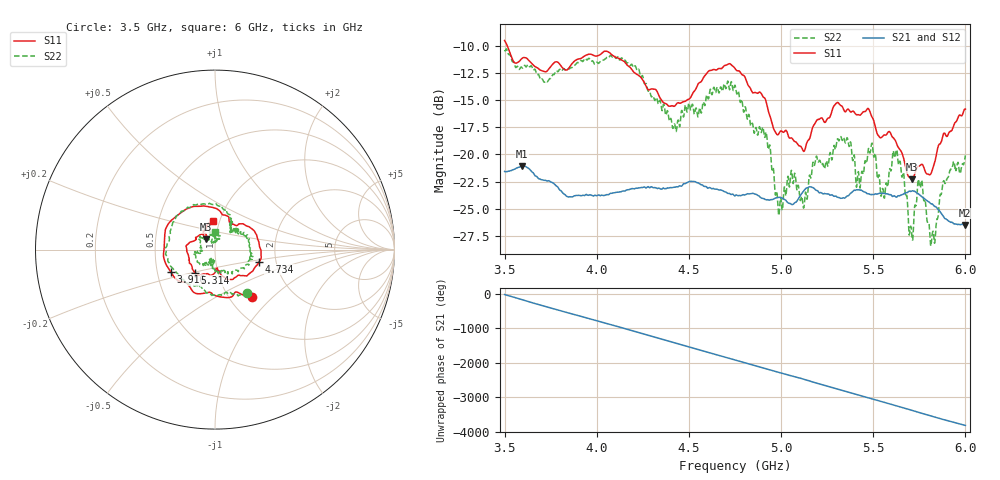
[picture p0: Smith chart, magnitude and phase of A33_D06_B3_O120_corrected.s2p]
! Created with skrf 1.9.0 (http://scikit-rf.org).
# Hz S RI R 50.0
!freq ReS11 ImS11 ReS21 ImS21 ReS12 ImS12 ReS22 ImS22
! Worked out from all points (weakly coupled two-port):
!   1601 points, 3.5 GHz to 6 GHz, reference 50 ohm
!   highest |S21| = -21.06 dB at 3.592 GHz (marker M1); lowest = -26.5 dB at 5.995 GHz (marker M2)
!   lowest |S11| = -22.3 dB at 5.709 GHz (marker M3), VSWR 1.17, Z = 44.9 + j5.21 ohm
!   |S11| at or under -10 dB: 3.514 GHz to end of sweep
!   |S22| runs from -28.4 to -10.3 dB; largest |S21 - S12| = 0.00096
!   S11 on the Smith chart (normalised r, x): 3.5 GHz: 1.28, -0.75; 3.916 GHz: 0.59, -0.16; 4.734 GHz: 1.64, -0.24; 5.314 GHz: 0.77, -0.21; 6 GHz: 0.93, +0.31
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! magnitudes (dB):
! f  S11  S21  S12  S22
! 3.5 GHz  -9.5  -21.6  -21.5  -10.4
! 3.592 GHz  -11.2  -21.1  -21.1  -12.0
! 3.916 GHz  -11.2  -23.8  -23.8  -11.4
! 3.917 GHz  -11.1  -23.8  -23.8  -11.4
! 4.334 GHz  -14.5  -23.1  -23.0  -15.4
! 4.423 GHz  -15.5  -23.0  -23.0  -17.2
! 4.734 GHz  -11.8  -23.7  -23.7  -13.6
! 4.75 GHz  -12.1  -23.8  -23.7  -13.6
! 4.911 GHz  -14.8  -24.1  -24.0  -18.4
! 4.995 GHz  -17.9  -24.0  -23.9  -24.1
! 5.167 GHz  -17.7  -23.0  -23.0  -21.5
! 5.314 GHz  -15.3  -24.0  -23.9  -18.8
! 5.419 GHz  -16.3  -23.3  -23.3  -21.6
! 5.484 GHz  -16.2  -23.7  -23.6  -19.7
! 5.584 GHz  -17.9  -23.7  -23.6  -22.0
! 5.634 GHz  -19.3  -23.8  -23.8  -20.6
! 5.709 GHz  -22.3  -23.4  -23.3  -27.4
! 5.753 GHz  -21.0  -23.7  -23.7  -23.0
! 5.823 GHz  -21.3  -24.6  -24.6  -27.1
! 5.875 GHz  -18.5  -25.6  -25.5  -23.0
! 5.995 GHz  -15.8  -26.5  -26.4  -20.6
! 6 GHz  -15.8  -26.5  -26.4  -20.1
